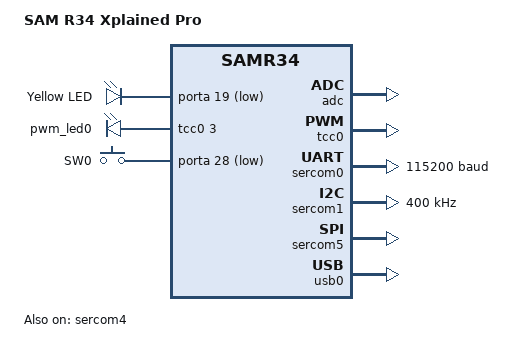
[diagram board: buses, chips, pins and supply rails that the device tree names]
/*
 * Copyright (c) 2021 Argentum Systems Ltd.
 *
 * SPDX-License-Identifier: Apache-2.0
 */

/dts-v1/;
#include <atmel/samr34.dtsi>

/ {
	model = "SAM R34 Xplained Pro";
	compatible = "atsamr34,xpro", "atmel,samr34j18b", "atmel,samr34";

	chosen {
		zephyr,console = &sercom0;
		zephyr,shell-uart = &sercom0;
		zephyr,sram = &sram0;
		zephyr,flash = &flash0;
	};

	aliases {
		led0 = &led0;
		pwm-led0 = &pwm_led0;
		sw0 = &user_button;
		i2c-0 = &sercom2;
	};

	leds {
		compatible = "gpio-leds";
		led0: led_0 {
			gpios = <&porta 19 GPIO_ACTIVE_LOW>;
			label = "Yellow LED";
		};
	};

	pwmleds {
		compatible = "pwm-leds";
		pwm_led0: pwm_led_0 {
			pwms = <&tcc0 3>;
		};
	};

	buttons {
		compatible = "gpio-keys";
		user_button: button_0 {
			gpios = <&porta 28 (GPIO_PULL_UP | GPIO_ACTIVE_LOW)>;
			label = "SW0";
		};
	};
};

&cpu0 {
	clock-frequency = <48000000>;
};

&adc {
	status = "okay";
};

&tcc0 {
	status = "okay";
	compatible = "atmel,sam0-tcc-pwm";
	/* Gives a maximum period of 1.4s */
	prescaler = <4>;
	#pwm-cells = <1>;
};

&sercom0 {
	status = "okay";
	compatible = "atmel,sam0-uart";
	current-speed = <115200>;
	rxpo = <1>;
	txpo = <0>;

	pinctrl-0 = <&pa5d_sercom0_pad1 &pa4d_sercom0_pad0>;
};

&sercom1 {
	status = "okay";
	compatible = "atmel,sam0-i2c";
	clock-frequency = <I2C_BITRATE_FAST>;
	#address-cells = <1>;
	#size-cells = <0>;
};

/* SERCOM4 is used for the internal LoRa radio */
&sercom4 {
	status = "okay";
};
&lora {
	tcxo-power-gpios = <&porta 9 GPIO_ACTIVE_HIGH>;  /* TCXO_PWR */
	tcxo-power-startup-delay-ms = <5>;
	rfi-enable-gpios = <&porta 13 GPIO_ACTIVE_HIGH>; /* BAND_SEL */
	rfo-enable-gpios = <&porta 13 GPIO_ACTIVE_HIGH>; /* BAND_SEL */
};

&sercom5 {
	status = "okay";
	compatible = "atmel,sam0-spi";
	dipo = <0>;
	dopo = <1>;
	#address-cells = <1>;
	#size-cells = <0>;
};

zephyr_udc0: &usb0 {
	status = "okay";
};
